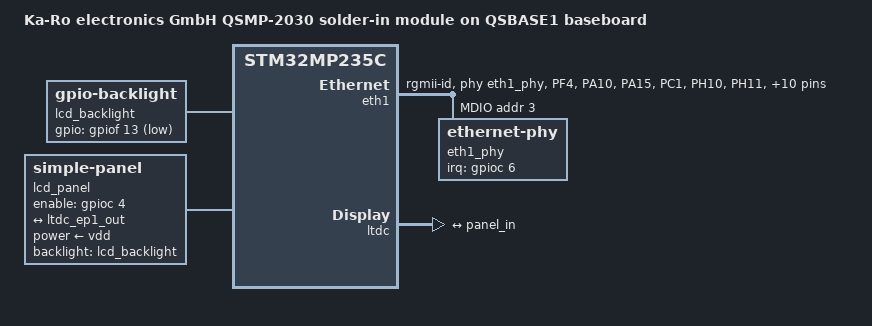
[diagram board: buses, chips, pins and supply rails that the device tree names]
// SPDX-License-Identifier: (GPL-2.0-or-later OR BSD-2-Clause)
/*
 * Copyright (C) 2026 Marcel Mertens <MM@KARO-electronics.de>
 */

#include "stm32mp235c-qsmp-2030.dts"

/ {
	model = "Ka-Ro electronics GmbH QSMP-2030 solder-in module on QSBASE1 baseboard";

	aliases {
		display = &lcd_panel;
	};

	lcd_backlight: lcd-backlight {
		compatible = "gpio-backlight";
		default-on;
		gpios = <&gpiof 13 GPIO_ACTIVE_LOW>;
	};

	lcd_panel: panel {
		compatible = "simple-panel";
		pinctrl-names = "default", "sleep";
		pinctrl-0 = <&qsmp_ltdc_pins>;
		pinctrl-1 = <&qsmp_ltdc_pins_sleep>;
		backlight = <&lcd_backlight>;
		enable-gpios = <&gpioc 4 GPIO_ACTIVE_HIGH>;
		power-supply = <&vdd>;
		status = "okay";

		port {
			panel_in: endpoint {
				remote-endpoint = <&ltdc_ep1_out>;
			};
		};

		display-timings {
			native-mode = <&ET0700>;

			VGA: VGA {
				clock-frequency = <25200000>;
				hactive = <640>;
				vactive = <480>;
				hback-porch = <48>;
				hsync-len = <96>;
				hfront-porch = <16>;
				vback-porch = <31>;
				vsync-len = <2>;
				vfront-porch = <12>;
				hsync-active = <0>;
				vsync-active = <0>;
				de-active = <1>;
				pixelclk-active = <0>;
			};

			ETV570: ETV570 {
				u-boot,panel-name = "edt,et057090dhu";
				clock-frequency = <25200000>;
				hactive = <640>;
				vactive = <480>;
				hback-porch = <114>;
				hsync-len = <30>;
				hfront-porch = <16>;
				vback-porch = <32>;
				vsync-len = <3>;
				vfront-porch = <10>;
				hsync-active = <0>;
				vsync-active = <0>;
				de-active = <1>;
				pixelclk-active = <0>;
			};

			ET0350: ET0350 {
				u-boot,panel-name = "edt,et0350g0dh6";
				clock-frequency = <6413760>;
				hactive = <320>;
				vactive = <240>;
				hback-porch = <34>;
				hsync-len = <34>;
				hfront-porch = <20>;
				vback-porch = <15>;
				vsync-len = <3>;
				vfront-porch = <4>;
				hsync-active = <0>;
				vsync-active = <0>;
				de-active = <1>;
				pixelclk-active = <0>;
			};

			ET0430: ET0430 {
				u-boot,panel-name = "edt,et0430g0dh6";
				clock-frequency = <9009000>;
				hactive = <480>;
				vactive = <272>;
				hback-porch = <2>;
				hsync-len = <41>;
				hfront-porch = <2>;
				vback-porch = <2>;
				vsync-len = <10>;
				vfront-porch = <2>;
				hsync-active = <0>;
				vsync-active = <0>;
				de-active = <1>;
				pixelclk-active = <1>;
			};

			ET0500: ET0500 {
				clock-frequency = <33264000>;
				hactive = <800>;
				vactive = <480>;
				hback-porch = <88>;
				hsync-len = <128>;
				hfront-porch = <40>;
				vback-porch = <33>;
				vsync-len = <2>;
				vfront-porch = <10>;
				hsync-active = <0>;
				vsync-active = <0>;
				de-active = <1>;
				pixelclk-active = <0>;
			};

			ET0700: ET0700 { /* same as ET0500 */
				u-boot,panel-name = "edt,etm0700g0dh6";
				clock-frequency = <33264000>;
				hactive = <800>;
				vactive = <480>;
				hback-porch = <88>;
				hsync-len = <128>;
				hfront-porch = <40>;
				vback-porch = <33>;
				vsync-len = <2>;
				vfront-porch = <10>;
				hsync-active = <0>;
				vsync-active = <0>;
				de-active = <1>;
				pixelclk-active = <0>;
			};

			ETQ570: ETQ570 {
				clock-frequency = <6596040>;
				hactive = <320>;
				vactive = <240>;
				hback-porch = <38>;
				hsync-len = <30>;
				hfront-porch = <30>;
				vback-porch = <16>;
				vsync-len = <3>;
				vfront-porch = <4>;
				hsync-active = <0>;
				vsync-active = <0>;
				de-active = <1>;
				pixelclk-active = <0>;
			};
		};
	};
};

&eth1 {
	pinctrl-names = "default", "sleep";
	pinctrl-0 = <&eth1_mdio_pins &eth1_rgmii_pins>;
	pinctrl-1 = <&eth1_mdio_sleep_pins &eth1_rgmii_sleep_pins>;
	phy-mode = "rgmii-id";
	phy-reset-gpios = <&gpiob 2 GPIO_ACTIVE_LOW>;
	phy-reset-delay-us = <10000>;
	phy-reset-post-delay-us = <100>;
	phy-handle = <&eth1_phy>;
	status = "okay";

	mdio {
		compatible = "snps,dwmac-mdio";
		#address-cells = <1>;
		#size-cells = <0>;

		eth1_phy: ethernet-phy@3 {
			reg = <3>;
			interrupt-parent = <&gpioc>;
			interrupts = <6 IRQ_TYPE_EDGE_FALLING>;
			micrel,force-master;

			rxc-skew-ps = <(900 + 780)>;
		};
	};
};

&ltdc {
	default-on;
	status = "okay";

	port {
		ltdc_ep1_out: endpoint {
			remote-endpoint = <&panel_in>;
		};
	};
};

&pinctrl {
	eth1_mdio_pins: eth1-mdio-pins {
		pins1 {
			pinmux = <STM32_PINMUX('F', 4, AF8)>;	/* ETH1_MDC */
			bias-disable;
			drive-push-pull;
			slew-rate = <2>;
		};

		pins2 {
			pinmux = <STM32_PINMUX('A', 10, AF10)>;	/* ETH1_MDIO */
			bias-disable;
			drive-push-pull;
			slew-rate = <0>;
		};
	};

	eth1_mdio_sleep_pins: eth1-mdio-sleep-pins {
		pins1 {
			pinmux = <
				  STM32_PINMUX('F', 4, ANALOG)	/* ETH1_MDC */
				  STM32_PINMUX('A', 10, ANALOG)	/* ETH1_MDIO */
			>;
		};
	};

	eth1_rgmii_pins: eth1-rgmii-pins {
		pins1 {
			pinmux = <
				  STM32_PINMUX('A', 15, AF10)	/* ETH1_TXD0 */
				  STM32_PINMUX('C', 1, AF10)	/* ETH1_TXD1 */
				  STM32_PINMUX('H', 10, AF10)	/* ETH1_TXD2 */
				  STM32_PINMUX('H', 11, AF10)	/* ETH1_TXD3 */
				  STM32_PINMUX('A', 13, AF10)	/* ETH1_TX_CTL */
			>;
			bias-disable;
			drive-push-pull;
			slew-rate = <3>;
		};

		pins2 {
			pinmux = <
				  STM32_PINMUX('H', 9, AF10)   /* ETH_RGMII_CLK125 */
			>;
			bias-disable;
			drive-push-pull;
			slew-rate = <3>;
		};

		pins3 {
			pinmux = <
				  STM32_PINMUX('C', 0, AF12)   /* ETH_RGMII_GTX_CLK */
			>;
			st,io-delay = <0xd>;
			bias-disable;
			drive-push-pull;
			slew-rate = <3>;
		};

		/* KSZ9031 strap pins */
		pins4 {
			pinmux = <
				  STM32_PINMUX('F', 1, AF10)	/* ETH1_RXD0 | MODE0 */
				  STM32_PINMUX('C', 2, AF10)	/* ETH1_RXD1 | MODE1 */
				  STM32_PINMUX('H', 12, AF10)	/* ETH1_RXD2 | MODE2 */
				  STM32_PINMUX('H', 13, AF10)	/* ETH1_RXD3 | MODE3 */
				  STM32_PINMUX('A', 11, AF10)	/* ETH1_RX_CTL | CLK125_EN */
			>;
			bias-pull-up;
		};

		pins5 {
			/* external pullup */
			pinmux = <
				  STM32_PINMUX('A', 14, AF10)	/* ETH1_RX_CLK | PHYAD2 */
			>;
			bias-pull-down;
		};
	};

	eth1_rgmii_sleep_pins: eth1-rgmii-sleep-pins {
		pins {
			pinmux = <
				  STM32_PINMUX('A', 13, ANALOG)	/* ETH1_TX_CTL */
				  STM32_PINMUX('C', 0, ANALOG)	/* ETH1_GTX_CLK */
				  STM32_PINMUX('A', 15, ANALOG)	/* ETH1_TXD0 */
				  STM32_PINMUX('C', 1, ANALOG)	/* ETH1_TXD1 */
				  STM32_PINMUX('H', 10, ANALOG)	/* ETH1_TXD2 */
				  STM32_PINMUX('H', 11, ANALOG)	/* ETH1_TXD3 */
				  STM32_PINMUX('A', 11, ANALOG)	/* ETH1_RX_CTL | CLK125_EN */
				  STM32_PINMUX('F', 1, ANALOG)	/* ETH1_RXD0 | MODE0 */
				  STM32_PINMUX('C', 2, ANALOG)	/* ETH1_RXD1 | MODE1 */
				  STM32_PINMUX('H', 12, ANALOG)	/* ETH1_RXD2 | MODE2 */
				  STM32_PINMUX('H', 13, ANALOG)	/* ETH1_RXD3 | MODE3 */
				  STM32_PINMUX('A', 14, ANALOG)	/* ETH1_RX_CLK | PHYAD2 */
			>;
		};
	};

	qsmp_ltdc_pins: qsmp-lcd-pins {
		pins {
			pinmux = <
				  STM32_PINMUX('F', 12, AF13) /* LCD_CLK */
				  STM32_PINMUX('G',  2, AF13) /* LCD_HSYNC */
				  STM32_PINMUX('I',  6, AF13) /* LCD_VSYNC */
				  STM32_PINMUX('I',  5, AF13) /* LCD_DE */

				  STM32_PINMUX('H',  4, AF10) /* LCD_R0 */
				  STM32_PINMUX('A',  4, AF10) /* LCD_R1 */
				  STM32_PINMUX('C', 11, AF13) /* LCD_R2 */
				  STM32_PINMUX('A',  1, AF11) /* LCD_R3 */
				  STM32_PINMUX('F', 15, AF13) /* LCD_R4 */
				  STM32_PINMUX('G',  5, AF13) /* LCD_R5 */
				  STM32_PINMUX('F',  3, AF13) /* LCD_R6 */
				  STM32_PINMUX('G',  7, AF13) /* LCD_R7 */
				  STM32_PINMUX('F',  8, AF13) /* LCD_G0 */
				  STM32_PINMUX('C', 12, AF13) /* LCD_G1 */
				  STM32_PINMUX('C',  9, AF13) /* LCD_G2 */
				  STM32_PINMUX('G',  9, AF13) /* LCD_G3 */
				  STM32_PINMUX('A',  6, AF10) /* LCD_G4 */
				  STM32_PINMUX('G', 11, AF13) /* LCD_G5 */
				  STM32_PINMUX('G', 12, AF13) /* LCD_G6 */
				  STM32_PINMUX('A',  9, AF12) /* LCD_G7 */
				  STM32_PINMUX('A',  2, AF11) /* LCD_B0 */
				  STM32_PINMUX('G', 14, AF13) /* LCD_B1 */
				  STM32_PINMUX('G', 15, AF13) /* LCD_B2 */
				  STM32_PINMUX('I',  0, AF13) /* LCD_B3 */
				  STM32_PINMUX('C',  7, AF13) /* LCD_B4 */
				  STM32_PINMUX('A',  7, AF10) /* LCD_B5 */
				  STM32_PINMUX('F',  5, AF13) /* LCD_B6 */
				  STM32_PINMUX('I',  4, AF13) /* LCD_B7 */
			>;
			bias-disable;
			drive-push-pull;
			slew-rate = <3>;
		};
	};

	qsmp_ltdc_pins_sleep: qsmp-lcd-pins-sleep {
		pins {
			pinmux = <
				  STM32_PINMUX('F', 12, ANALOG) /* LCD_CLK */
				  STM32_PINMUX('G',  2, ANALOG) /* LCD_HSYNC */
				  STM32_PINMUX('I',  6, ANALOG) /* LCD_VSYNC */
				  STM32_PINMUX('I',  5, ANALOG) /* LCD_DE */

				  STM32_PINMUX('H',  4, ANALOG) /* LCD_R0 */
				  STM32_PINMUX('A',  4, ANALOG) /* LCD_R1 */
				  STM32_PINMUX('C', 11, ANALOG) /* LCD_R2 */
				  STM32_PINMUX('A',  1, ANALOG) /* LCD_R3 */
				  STM32_PINMUX('F', 15, ANALOG) /* LCD_R4 */
				  STM32_PINMUX('G',  5, ANALOG) /* LCD_R5 */
				  STM32_PINMUX('F',  3, ANALOG) /* LCD_R6 */
				  STM32_PINMUX('G',  7, ANALOG) /* LCD_R7 */
				  STM32_PINMUX('F',  8, ANALOG) /* LCD_G0 */
				  STM32_PINMUX('C', 12, ANALOG) /* LCD_G1 */
				  STM32_PINMUX('C',  9, ANALOG) /* LCD_G2 */
				  STM32_PINMUX('G',  9, ANALOG) /* LCD_G3 */
				  STM32_PINMUX('A',  6, ANALOG) /* LCD_G4 */
				  STM32_PINMUX('G', 11, ANALOG) /* LCD_G5 */
				  STM32_PINMUX('G', 12, ANALOG) /* LCD_G6 */
				  STM32_PINMUX('A',  9, ANALOG) /* LCD_G7 */
				  STM32_PINMUX('A',  2, ANALOG) /* LCD_B0 */
				  STM32_PINMUX('G', 14, ANALOG) /* LCD_B1 */
				  STM32_PINMUX('G', 15, ANALOG) /* LCD_B2 */
				  STM32_PINMUX('I',  0, ANALOG) /* LCD_B3 */
				  STM32_PINMUX('C',  7, ANALOG) /* LCD_B4 */
				  STM32_PINMUX('A',  7, ANALOG) /* LCD_B5 */
				  STM32_PINMUX('F',  5, ANALOG) /* LCD_B6 */
				  STM32_PINMUX('I',  4, ANALOG) /* LCD_B7 */
			>;
		};
	};
};
